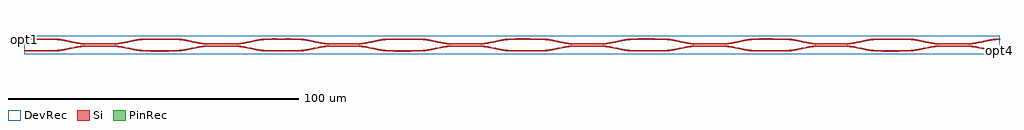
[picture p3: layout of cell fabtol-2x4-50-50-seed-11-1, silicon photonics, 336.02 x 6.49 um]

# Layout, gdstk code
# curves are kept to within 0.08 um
import gdstk
lib = gdstk.Library(unit=1e-6, precision=1e-09)
def R(c, l, rs):  # rectangles x0, y0, x1, y1
    for r in rs: c.add(gdstk.rectangle(r[:2], r[2:], *l))
def P(c, l, *ps):  # polygons
    for p in ps: c.add(gdstk.Polygon(p, *l))
Si = (1, 0)
PinRec = (1, 10)
DevRec = (68, 0)

layer_3_0_phase_sec_1_4 = lib.new_cell('layer-3_0_phase_sec_1$4')
P(layer_3_0_phase_sec_1_4, Si, [(5.033,-0.234),(0,-0.225),(0,0.225),(10,0.225),(10,-0.225)])

layer_0_0_phase_sec_0_4 = lib.new_cell('layer-0_0_phase_sec_0$4')
P(layer_0_0_phase_sec_0_4, Si, [(2.891,-0.229),(0,-0.225),(0,0.225),(10,0.225),(10,-0.225)])

layer_0_0_phase_sec_2_4 = lib.new_cell('layer-0_0_phase_sec_2$4')
P(layer_0_0_phase_sec_2_4, Si, [(1.312,-0.231),(0,-0.225),(0,0.225),(10,0.225),(10,-0.225)])

layer_3_0_phase_sec_3_4 = lib.new_cell('layer-3_0_phase_sec_3$4')
P(layer_3_0_phase_sec_3_4, Si, [(4.253,-0.246),(0,-0.225),(0,0.225),(10,0.225),(10,-0.225)])

layer_1_0_phase_sec_0_4 = lib.new_cell('layer-1_0_phase_sec_0$4')
P(layer_1_0_phase_sec_0_4, Si, [(1.535,-0.241),(0,-0.225),(0,0.225),(10,0.225),(10,-0.225)])

layer_3_0_phase_sec_0_4 = lib.new_cell('layer-3_0_phase_sec_0$4')
P(layer_3_0_phase_sec_0_4, Si, [(5.781,-0.243),(0,-0.225),(0,0.225),(10,0.225),(10,-0.225)])

layer_1_0_phase_sec_1_4 = lib.new_cell('layer-1_0_phase_sec_1$4')
P(layer_1_0_phase_sec_1_4, Si, [(4.712,-0.238),(0,-0.225),(0,0.225),(10,0.225),(10,-0.225)])

layer_3_0_phase_sec_2_4 = lib.new_cell('layer-3_0_phase_sec_2$4')
P(layer_3_0_phase_sec_2_4, Si, [(1.162,-0.232),(0,-0.225),(0,0.225),(10,0.225),(10,-0.225)])

layer_1_0_phase_sec_3_4 = lib.new_cell('layer-1_0_phase_sec_3$4')
P(layer_1_0_phase_sec_3_4, Si, [(1.433,-0.242),(0,-0.225),(0,0.225),(10,0.225),(10,-0.225)])

dc_arm_down_4 = lib.new_cell('dc_arm_down$4')
R(dc_arm_down_4, Si, [(12,-0.55,20,-0.1)])
P(dc_arm_down_4, Si, [(32,-2.225),(30.861,-2.188),(29.344,-2.033),(22.966,-0.793),(21.481,-0.613),(20,-0.55),(20,-0.1),(21.139,-0.137),(22.656,-0.292),(29.034,-1.532),(30.519,-1.712),(32,-1.775)],
  [(0,-2.225),(0,-1.775),(1.481,-1.712),(2.966,-1.532),(9.344,-0.292),(10.861,-0.137),(12,-0.1),(12,-0.55),(10.519,-0.613),(9.034,-0.793),(2.656,-2.033),(1.139,-2.188)])

dc_arm_up_4 = lib.new_cell('dc_arm_up$4')
R(dc_arm_up_4, Si, [(12,0.1,20,0.55)])
P(dc_arm_up_4, Si, [(20,0.1),(20,0.55),(21.481,0.613),(22.966,0.793),(29.344,2.033),(30.861,2.188),(32,2.225),(32,1.775),(30.519,1.712),(29.034,1.532),(22.656,0.292),(21.139,0.137)],
  [(12,0.1),(10.861,0.137),(9.344,0.292),(2.966,1.532),(1.481,1.712),(0,1.775),(0,2.225),(1.139,2.188),(2.656,2.033),(9.034,0.793),(10.519,0.613),(12,0.55)])

dc_4 = lib.new_cell('dc$4')
dc_4.add(gdstk.Reference(dc_arm_down_4, (0,0)))
dc_4.add(gdstk.Reference(dc_arm_up_4, (0,0)))

layer_2_0_phase_sec_0_4 = lib.new_cell('layer-2_0_phase_sec_0$4')
P(layer_2_0_phase_sec_0_4, Si, [(1.226,-0.244),(0,-0.225),(0,0.225),(10,0.225),(10,-0.225)])

layer_1_0_phase_sec_2_4 = lib.new_cell('layer-1_0_phase_sec_2$4')
P(layer_1_0_phase_sec_2_4, Si, [(1.442,-0.237),(0,-0.225),(0,0.225),(10,0.225),(10,-0.225)])

layer_2_0_phase_sec_1_4 = lib.new_cell('layer-2_0_phase_sec_1$4')
P(layer_2_0_phase_sec_1_4, Si, [(2.328,-0.236),(0,-0.225),(0,0.225),(10,0.225),(10,-0.225)])

layer_0_0_phase_sec_3_4 = lib.new_cell('layer-0_0_phase_sec_3$4')
P(layer_0_0_phase_sec_3_4, Si, [(4.726,-0.247),(0,-0.225),(0,0.225),(10,0.225),(10,-0.225)])

layer_2_0_phase_sec_2_4 = lib.new_cell('layer-2_0_phase_sec_2$4')
P(layer_2_0_phase_sec_2_4, Si, [(5.613,-0.248),(0,-0.225),(0,0.225),(10,0.225),(10,-0.225)])

layer_0_0_phase_sec_1_4 = lib.new_cell('layer-0_0_phase_sec_1$4')
P(layer_0_0_phase_sec_1_4, Si, [(2.736,-0.229),(0,-0.225),(0,0.225),(10,0.225),(10,-0.225)])

layer_2_0_phase_sec_3_4 = lib.new_cell('layer-2_0_phase_sec_3$4')
P(layer_2_0_phase_sec_3_4, Si, [(5.316,-0.231),(0,-0.225),(0,0.225),(10,0.225),(10,-0.225)])

fabtol_2x4_50_50_seed_11 = lib.new_cell('fabtol-2x4-50-50-seed-11-1')
R(fabtol_2x4_50_50_seed_11, DevRec, [(0,-1,336,5.495)])
fabtol_2x4_50_50_seed_11.add(gdstk.FlexPath([(335.99,0.247),(336.01,0.247)], 0.45, ends="flush", simple_path=True, layer=1, datatype=10))  # PinRec
fabtol_2x4_50_50_seed_11.add(gdstk.FlexPath([(335.99,4.247),(336.01,4.247)], 0.45, ends="flush", simple_path=True, layer=1, datatype=10))  # PinRec
fabtol_2x4_50_50_seed_11.add(gdstk.FlexPath([(0.01,4.247),(-0.01,4.247)], 0.45, ends="flush", simple_path=True, layer=1, datatype=10))  # PinRec
fabtol_2x4_50_50_seed_11.add(gdstk.Reference(layer_3_0_phase_sec_1_4, (252,0.247)))
fabtol_2x4_50_50_seed_11.add(gdstk.Reference(layer_0_0_phase_sec_0_4, (0,4.247)))
fabtol_2x4_50_50_seed_11.add(gdstk.Reference(layer_0_0_phase_sec_2_4, (42,4.247)))
fabtol_2x4_50_50_seed_11.add(gdstk.Reference(layer_3_0_phase_sec_3_4, (294,0.247)))
fabtol_2x4_50_50_seed_11.add(gdstk.Reference(layer_1_0_phase_sec_0_4, (84,4.247)))
fabtol_2x4_50_50_seed_11.add(gdstk.Reference(layer_3_0_phase_sec_0_4, (252,4.247)))
fabtol_2x4_50_50_seed_11.add(gdstk.Reference(layer_1_0_phase_sec_1_4, (84,0.247)))
fabtol_2x4_50_50_seed_11.add(gdstk.Reference(layer_3_0_phase_sec_2_4, (294,4.247)))
fabtol_2x4_50_50_seed_11.add(gdstk.Reference(layer_1_0_phase_sec_3_4, (126,0.247)))
fabtol_2x4_50_50_seed_11.add(gdstk.Reference(dc_4, (10,2.247)))
fabtol_2x4_50_50_seed_11.add(gdstk.Reference(dc_4, (52,2.247)))
fabtol_2x4_50_50_seed_11.add(gdstk.Reference(dc_4, (94,2.247)))
fabtol_2x4_50_50_seed_11.add(gdstk.Reference(dc_4, (136,2.247)))
fabtol_2x4_50_50_seed_11.add(gdstk.Reference(dc_4, (178,2.247)))
fabtol_2x4_50_50_seed_11.add(gdstk.Reference(dc_4, (220,2.247)))
fabtol_2x4_50_50_seed_11.add(gdstk.Reference(dc_4, (262,2.247)))
fabtol_2x4_50_50_seed_11.add(gdstk.Reference(dc_4, (304,2.247)))
fabtol_2x4_50_50_seed_11.add(gdstk.Reference(layer_2_0_phase_sec_0_4, (168,4.247)))
fabtol_2x4_50_50_seed_11.add(gdstk.Reference(layer_1_0_phase_sec_2_4, (126,4.247)))
fabtol_2x4_50_50_seed_11.add(gdstk.Reference(layer_2_0_phase_sec_1_4, (168,0.247)))
fabtol_2x4_50_50_seed_11.add(gdstk.Reference(layer_0_0_phase_sec_3_4, (42,0.247)))
fabtol_2x4_50_50_seed_11.add(gdstk.Reference(layer_2_0_phase_sec_2_4, (210,4.247)))
fabtol_2x4_50_50_seed_11.add(gdstk.Reference(layer_0_0_phase_sec_1_4, (0,0.247)))
fabtol_2x4_50_50_seed_11.add(gdstk.Reference(layer_2_0_phase_sec_3_4, (210,0.247)))
fabtol_2x4_50_50_seed_11.add(gdstk.Label('opt4', (336,0.247), layer=1, texttype=10))
fabtol_2x4_50_50_seed_11.add(gdstk.Label('opt3', (336,4.247), layer=1, texttype=10))
fabtol_2x4_50_50_seed_11.add(gdstk.Label('opt1', (0,4.247), layer=1, texttype=10))

lib.write_gds('fabtol-2x4-50-50-seed-11-1.gds')
